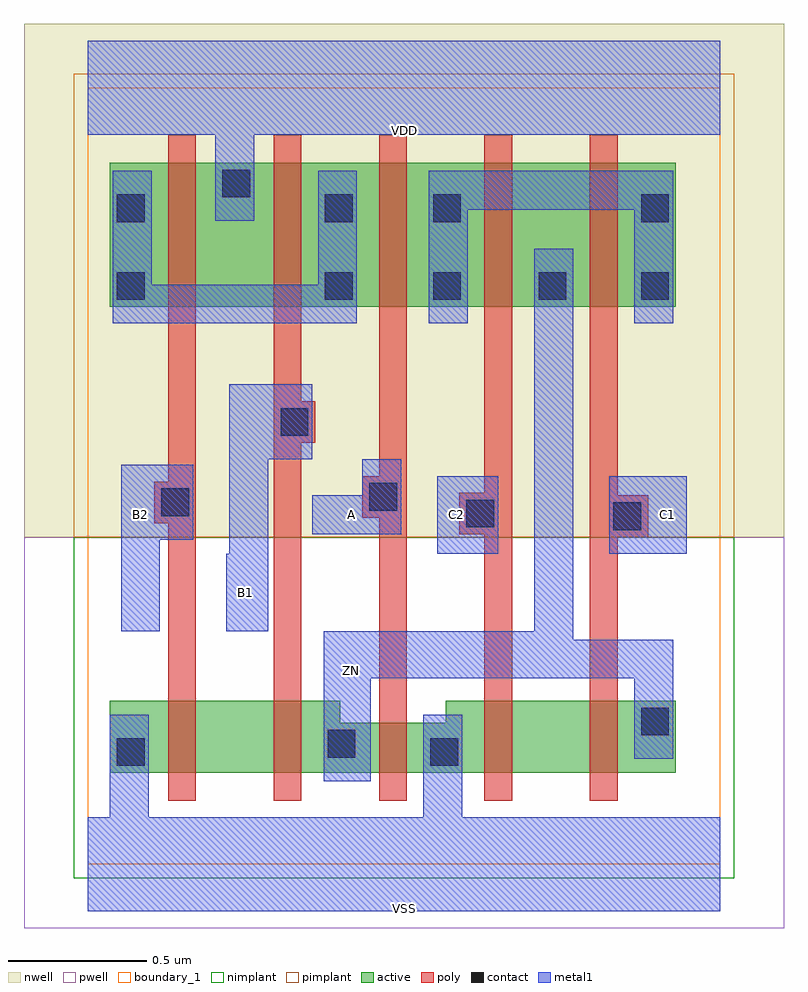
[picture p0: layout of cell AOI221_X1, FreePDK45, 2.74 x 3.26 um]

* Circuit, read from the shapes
.subckt AOI221_X1 A B1 B2 C1 C2 VDD VSS ZN
M1 n1 B2 VSS VSUBS nfet w=0.26u l=0.1u
M2 ZN B1 n1 VSUBS nfet w=0.26u l=0.1u
M3 VSS A ZN VSUBS nfet w=0.18u l=0.1u
M4 n2 C2 VSS VSUBS nfet w=0.26u l=0.1u
M5 ZN C1 n2 VSUBS nfet w=0.26u l=0.1u
M6 VDD B2 n3 n4 pfet w=0.52u l=0.1u
M7 n3 B1 VDD n4 pfet w=0.52u l=0.1u
M8 n5 A n3 n4 pfet w=0.52u l=0.1u
M9 ZN C2 n5 n4 pfet w=0.52u l=0.1u
M10 n5 C1 ZN n4 pfet w=0.52u l=0.1u
.ends

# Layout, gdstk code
import gdstk
lib = gdstk.Library(unit=1e-6, precision=1e-09)
def R(c, l, rs):  # rectangles x0, y0, x1, y1
    for r in rs: c.add(gdstk.rectangle(r[:2], r[2:], *l))
def P(c, l, *ps):  # polygons
    for p in ps: c.add(gdstk.Polygon(p, *l))
active = (1, 0)
pwell = (2, 0)
nwell = (3, 0)
nimplant = (4, 0)
pimplant = (5, 0)
poly = (9, 0)
contact = (10, 0)
metal1 = (11, 0)
boundary_1 = (235, 1)

aoi221_x1 = lib.new_cell('AOI221_X1')
R(aoi221_x1, active, [(0.08,2.01,2.12,2.53)])
P(aoi221_x1, active, [(0.08,0.33),(2.12,0.33),(2.12,0.59),(1.29,0.59),(1.29,0.51),(0.91,0.51),(0.91,0.59),(0.08,0.59)])
R(aoi221_x1, pwell, [(-0.23,-0.23,2.51,1.18)])
R(aoi221_x1, nwell, [(-0.23,1.18,2.51,3.03)])
R(aoi221_x1, nimplant, [(-0.05,-0.05,2.33,1.18)])
R(aoi221_x1, pimplant, [(-0.05,1.18,2.33,2.85)])
P(aoi221_x1, poly, [(1.81,0.23),(1.91,0.23),(1.91,1.18),(2.02,1.18),(2.02,1.33),(1.91,1.33),(1.91,2.63),(1.81,2.63)],
  [(1.34,1.19),(1.43,1.19),(1.43,0.23),(1.53,0.23),(1.53,2.63),(1.43,2.63),(1.43,1.34),(1.34,1.34)],
  [(0.99,1.25),(1.05,1.25),(1.05,0.23),(1.15,0.23),(1.15,2.63),(1.05,2.63),(1.05,1.4),(0.99,1.4)],
  [(0.67,0.23),(0.77,0.23),(0.77,1.52),(0.82,1.52),(0.82,1.67),(0.77,1.67),(0.77,2.63),(0.67,2.63)],
  [(0.24,1.23),(0.29,1.23),(0.29,0.23),(0.39,0.23),(0.39,2.63),(0.29,2.63),(0.29,1.38),(0.24,1.38)])
R(aoi221_x1, contact, [(0.105,0.355,0.205,0.455), (1.235,0.355,1.335,0.455), (0.865,0.385,0.965,0.485), (1.995,0.465,2.095,0.565), (1.895,1.205,1.995,1.305), (1.365,1.215,1.465,1.315), (0.265,1.255,0.365,1.355), (1.015,1.275,1.115,1.375), (0.695,1.545,0.795,1.645), (0.105,2.035,0.205,2.135), (0.855,2.035,0.955,2.135), (1.245,2.035,1.345,2.135), (1.625,2.035,1.725,2.135), (1.995,2.035,2.095,2.135), (0.105,2.315,0.205,2.415), (0.855,2.315,0.955,2.415), (1.245,2.315,1.345,2.415), (1.995,2.315,2.095,2.415), (0.485,2.405,0.585,2.505)])
R(aoi221_x1, metal1, [(1.26,1.12,1.48,1.4), (1.26,1.12,1.48,1.4), (1.88,1.12,2.16,1.4), (1.88,1.12,2.16,1.4)])
P(aoi221_x1, metal1, [(0.12,0.84),(0.26,0.84),(0.26,1.17),(0.38,1.17),(0.38,1.44),(0.12,1.44)],
  [(0,-0.17),(2.28,-0.17),(2.28,0.17),(1.35,0.17),(1.35,0.54),(1.21,0.54),(1.21,0.17),(0.22,0.17),(0.22,0.54),(0.08,0.54),(0.08,0.17),(0,0.17)],
  [(0.85,0.3),(1.02,0.3),(1.02,0.67),(1.97,0.67),(1.97,0.38),(2.11,0.38),(2.11,0.81),(1.75,0.81),(1.75,2.22),(1.61,2.22),(1.61,0.84),(0.85,0.84)],
  [(0.5,0.84),(0.65,0.84),(0.65,1.46),(0.81,1.46),(0.81,1.73),(0.51,1.73),(0.51,1.12),(0.5,1.12)],
  [(0,2.63),(0.46,2.63),(0.46,2.32),(0.6,2.32),(0.6,2.63),(2.28,2.63),(2.28,2.97),(0,2.97)],
  [(0.81,1.19),(1.13,1.19),(1.13,1.46),(0.99,1.46),(0.99,1.33),(0.81,1.33)],
  [(0,2.63),(0.46,2.63),(0.46,2.32),(0.6,2.32),(0.6,2.63),(2.28,2.63),(2.28,2.97),(0,2.97)],
  [(0,-0.17),(2.28,-0.17),(2.28,0.17),(1.35,0.17),(1.35,0.54),(1.21,0.54),(1.21,0.17),(0.22,0.17),(0.22,0.54),(0.08,0.54),(0.08,0.17),(0,0.17)],
  [(1.23,1.95),(1.37,1.95),(1.37,2.36),(1.97,2.36),(1.97,1.95),(2.11,1.95),(2.11,2.5),(1.23,2.5)],
  [(0.85,0.3),(1.02,0.3),(1.02,0.67),(1.97,0.67),(1.97,0.38),(2.11,0.38),(2.11,0.81),(1.75,0.81),(1.75,2.22),(1.61,2.22),(1.61,0.84),(0.85,0.84)],
  [(0.81,1.19),(1.13,1.19),(1.13,1.46),(0.99,1.46),(0.99,1.33),(0.81,1.33)],
  [(0.09,1.95),(0.97,1.95),(0.97,2.5),(0.83,2.5),(0.83,2.09),(0.23,2.09),(0.23,2.5),(0.09,2.5)],
  [(0.5,0.84),(0.65,0.84),(0.65,1.46),(0.81,1.46),(0.81,1.73),(0.51,1.73),(0.51,1.12),(0.5,1.12)],
  [(0.12,0.84),(0.26,0.84),(0.26,1.17),(0.38,1.17),(0.38,1.44),(0.12,1.44)])
R(aoi221_x1, boundary_1, [(0,0,2.28,2.8)])
aoi221_x1.add(gdstk.Label('ZN', (0.95,0.7), layer=11, texttype=0))
aoi221_x1.add(gdstk.Label('VSS', (1.14,-0.16), layer=11, texttype=0))
aoi221_x1.add(gdstk.Label('VDD', (1.14,2.645), layer=11, texttype=0))
aoi221_x1.add(gdstk.Label('C2', (1.33,1.26), layer=11, texttype=0))
aoi221_x1.add(gdstk.Label('C1', (2.09,1.26), layer=11, texttype=0))
aoi221_x1.add(gdstk.Label('B2', (0.19,1.26), layer=11, texttype=0))
aoi221_x1.add(gdstk.Label('B1', (0.57,0.98), layer=11, texttype=0))
aoi221_x1.add(gdstk.Label('A', (0.95,1.26), layer=11, texttype=0))

lib.write_gds('AOI221_X1.gds')
